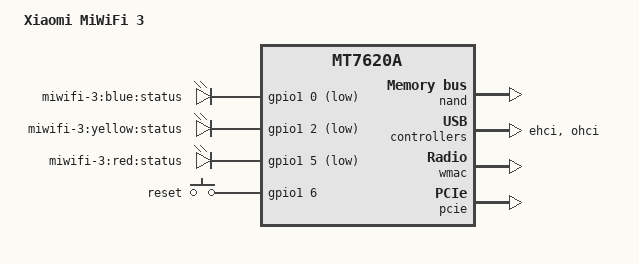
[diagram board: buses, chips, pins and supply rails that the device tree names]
/dts-v1/;

#include "mt7620a.dtsi"

/ {
	compatible = "xiaomi,miwifi-3", "ralink,mt7620a-soc";
	model = "Xiaomi MiWiFi 3";

	chosen {
		bootargs = "console=ttyS0,115200";
	};

	gpio-leds {
		compatible = "gpio-leds";

		blue {
			label = "miwifi-3:blue:status";
			gpios = <&gpio1 0 1>;
		};

		yellow {
			label = "miwifi-3:yellow:status";
			gpios = <&gpio1 2 1>;
		};

		red {
			label = "miwifi-3:red:status";
			gpios = <&gpio1 5 1>;
		};
	};

	gpio-keys-polled {
		compatible = "gpio-keys-polled";
		#address-cells = <1>;
		#size-cells = <0>;
		poll-interval = <20>;

		reset {
			label = "reset";
			gpios = <&gpio1 6 0>;
			linux,code = <0x198>;
		};
	};
};

&gpio0 {
	status = "okay";
};

&gpio1 {
	status = "okay";
};

&gpio2 {
	status = "okay";
};

&nand {
	status = "okay";

	partition@0 {
		label = "u-boot";
		reg = <0x0 0x40000>;
		read-only;
	};

	partition@40000 {
		label = "u-boot-env";
		reg = <0x40000 0x40000>;
		read-only;
	};

	partition@80000 {
		label = "Bdata";
		reg = <0x80000 0x40000>;
	};

	factory: partition@c0000 {
		label = "factory";
		reg = <0xc0000 0x40000>;
		read-only;
	};

	partition@100000 {
		label = "crash";
		reg = <0x100000 0x40000>;
	};

	partition@140000 {
		label = "crash_syslog";
		reg = <0x140000 0x40000>;
	};

	partition@180000 {
		label = "reserved";
		reg = <0x180000 0x80000>;
	};

	partition@200000 {
		label = "firmware";
		reg = <0x200000 0x7e00000>;
	};
};

&ehci {
	status = "okay";
};

&ohci {
	status = "okay";
};

&ethernet {
	pinctrl-names = "default";
	pinctrl-0 = <&ephy_pins>;
	mtd-mac-address = <&factory 0x4>;
	mediatek,portmap = "llllw";
};

&wmac {
	ralink,mtd-eeprom = <&factory 0>;
};

&pcie {
	status = "okay";

	pcie-bridge {
		mt76@0,0 {
			reg = <0x0000 0 0 0 0>;
			device_type = "pci";
			mediatek,mtd-eeprom = <&factory 0x8000>;
			mediatek,2ghz = <0>;
		};
	};
};

&pinctrl {
	state_default: pinctrl0 {
		gpio {
			ralink,group = "i2c", "rgmii1";
			ralink,function = "gpio";
		};

		pa {
			ralink,group = "pa";
			ralink,function = "pa";
		};
	};
};
